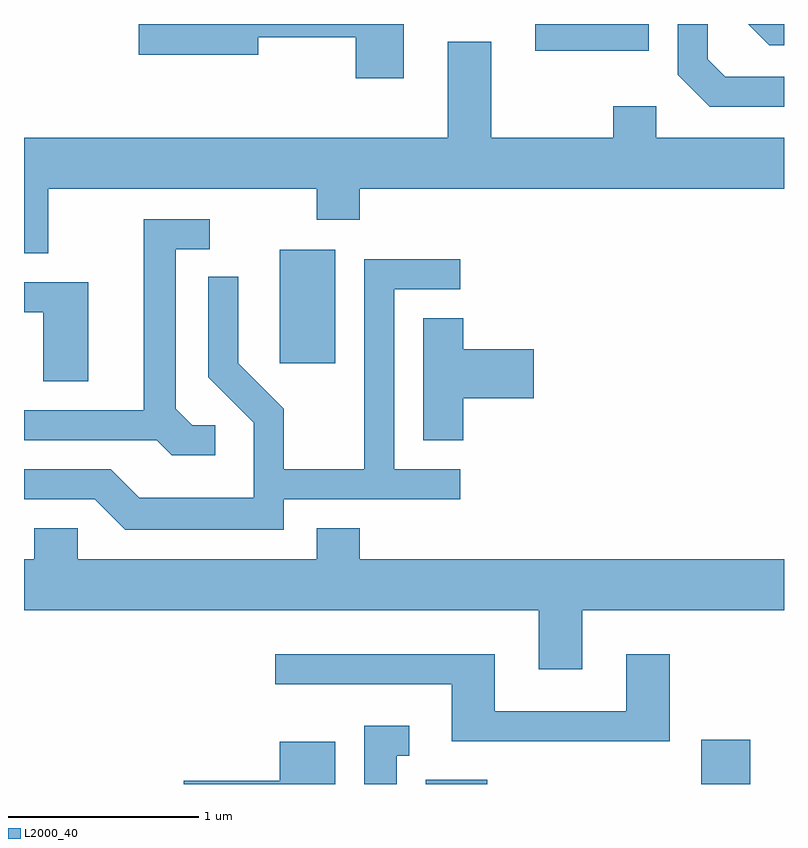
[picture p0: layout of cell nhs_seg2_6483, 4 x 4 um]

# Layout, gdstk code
import gdstk
lib = gdstk.Library(unit=1e-6, precision=1e-09)
def R(c, l, rs):  # rectangles x0, y0, x1, y1
    for r in rs: c.add(gdstk.rectangle(r[:2], r[2:], *l))
def P(c, l, *ps):  # polygons
    for p in ps: c.add(gdstk.Polygon(p, *l))
L2000_40 = (2000, 40)

nhs_seg2_6483 = lib.new_cell('nhs_seg2_6483')
R(nhs_seg2_6483, L2000_40, [(377.726,1091.802,378.049,1091.824), (379.176,1091.802,379.434,1092.034), (376.956,1094.016,377.249,1094.614), (378.301,1095.661,378.899,1095.802)])
P(nhs_seg2_6483, L2000_40, [(379.611,1095.524),(379.302,1095.524),(379.209,1095.617),(379.209,1095.802),(379.051,1095.802),(379.051,1095.534),(379.219,1095.366),(379.611,1095.366)],
  [(379.611,1095.802),(379.423,1095.802),(379.534,1095.691),(379.611,1095.691)],
  [(377.609,1095.802),(376.216,1095.802),(376.216,1095.641),(376.844,1095.641),(376.844,1095.731),(377.356,1095.731),(377.356,1095.516),(377.609,1095.516)],
  [(375.739,1094.936),(377.151,1094.936),(377.151,1094.771),(377.379,1094.771),(377.379,1094.936),(379.611,1094.936),(379.611,1095.204),(378.939,1095.204),(378.939,1095.369),(378.711,1095.369),(378.711,1095.204),(378.069,1095.204),(378.069,1095.709),(377.841,1095.709),(377.841,1095.204),(375.611,1095.204),(375.611,1094.596),(375.739,1094.596)],
  [(376.618,1093.689),(376.497,1093.689),(376.409,1093.777),(376.409,1094.616),(376.588,1094.616),(376.588,1094.774),(376.241,1094.774),(376.241,1093.769),(375.611,1093.769),(375.611,1093.611),(376.309,1093.611),(376.389,1093.531),(376.618,1093.531)],
  [(376.979,1093.301),(377.908,1093.301),(377.908,1093.459),(377.559,1093.459),(377.559,1094.406),(377.908,1094.406),(377.908,1094.564),(377.401,1094.564),(377.401,1093.459),(376.979,1093.459),(376.979,1093.777),(376.739,1094.017),(376.739,1094.473),(376.581,1094.473),(376.581,1093.944),(376.821,1093.704),(376.821,1093.309),(376.217,1093.309),(376.067,1093.459),(375.611,1093.459),(375.611,1093.301),(375.984,1093.301),(376.144,1093.141),(376.979,1093.141)],
  [(375.949,1094.444),(375.611,1094.444),(375.611,1094.286),(375.711,1094.286),(375.711,1093.921),(375.949,1093.921)],
  [(377.924,1093.831),(378.294,1093.831),(378.294,1094.089),(377.924,1094.089),(377.924,1094.254),(377.711,1094.254),(377.711,1093.611),(377.924,1093.611)],
  [(378.549,1092.716),(379.611,1092.716),(379.611,1092.984),(377.379,1092.984),(377.379,1093.149),(377.151,1093.149),(377.151,1092.984),(375.894,1092.984),(375.894,1093.149),(375.666,1093.149),(375.666,1092.984),(375.611,1092.984),(375.611,1092.716),(378.321,1092.716),(378.321,1092.406),(378.549,1092.406)],
  [(379.009,1092.484),(378.781,1092.484),(378.781,1092.184),(378.089,1092.184),(378.089,1092.484),(376.933,1092.484),(376.933,1092.326),(377.861,1092.326),(377.861,1092.026),(379.009,1092.026)],
  [(377.574,1091.951),(377.638,1091.951),(377.638,1092.109),(377.401,1092.109),(377.401,1091.802),(377.574,1091.802)],
  [(377.249,1092.024),(376.956,1092.024),(376.956,1091.819),(376.451,1091.819),(376.451,1091.802),(377.249,1091.802)])

lib.write_gds('nhs_seg2_6483.gds')
